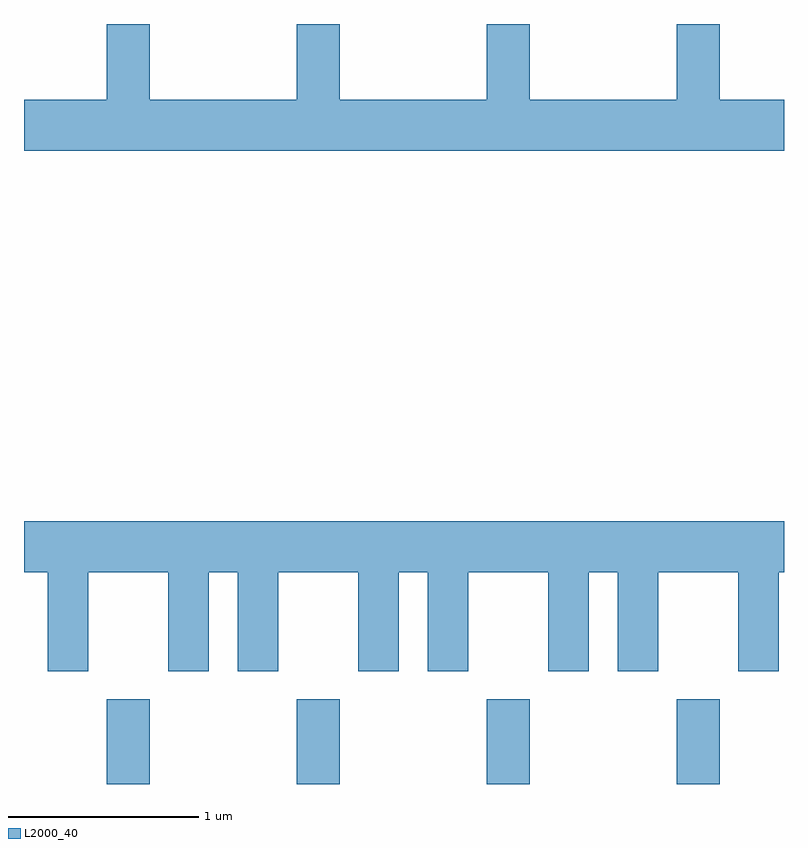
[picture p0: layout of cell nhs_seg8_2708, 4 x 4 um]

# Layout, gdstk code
import gdstk
lib = gdstk.Library(unit=1e-6, precision=1e-09)
def R(c, l, rs):  # rectangles x0, y0, x1, y1
    for r in rs: c.add(gdstk.rectangle(r[:2], r[2:], *l))
def A(c, l, x, y, w, h, nx, ny, dx, dy):  # array of equal rectangles
    R(c, l, [(x+i*dx, y+j*dy, x+i*dx+w, y+j*dy+h) for i in range(nx) for j in range(ny)])
def P(c, l, *ps):  # polygons
    for p in ps: c.add(gdstk.Polygon(p, *l))
L2000_40 = (2000, 40)

nhs_seg8_2708 = lib.new_cell('nhs_seg8_2708')
A(nhs_seg8_2708, L2000_40, 266.046, 1906.342, 0.228, 0.447, 4, 1, 1, 0)
P(nhs_seg8_2708, L2000_40, [(269.611,1909.944),(269.274,1909.944),(269.274,1910.342),(269.046,1910.342),(269.046,1909.944),(268.274,1909.944),(268.274,1910.342),(268.046,1910.342),(268.046,1909.944),(267.274,1909.944),(267.274,1910.342),(267.046,1910.342),(267.046,1909.944),(266.274,1909.944),(266.274,1910.342),(266.046,1910.342),(266.046,1909.944),(265.611,1909.944),(265.611,1909.676),(269.611,1909.676)],
  [(265.949,1907.456),(266.371,1907.456),(266.371,1906.936),(266.584,1906.936),(266.584,1907.456),(266.736,1907.456),(266.736,1906.936),(266.949,1906.936),(266.949,1907.456),(267.371,1907.456),(267.371,1906.936),(267.584,1906.936),(267.584,1907.456),(267.736,1907.456),(267.736,1906.936),(267.949,1906.936),(267.949,1907.456),(268.371,1907.456),(268.371,1906.936),(268.584,1906.936),(268.584,1907.456),(268.736,1907.456),(268.736,1906.936),(268.949,1906.936),(268.949,1907.456),(269.371,1907.456),(269.371,1906.936),(269.584,1906.936),(269.584,1907.456),(269.611,1907.456),(269.611,1907.724),(265.611,1907.724),(265.611,1907.456),(265.736,1907.456),(265.736,1906.936),(265.949,1906.936)])

lib.write_gds('nhs_seg8_2708.gds')
